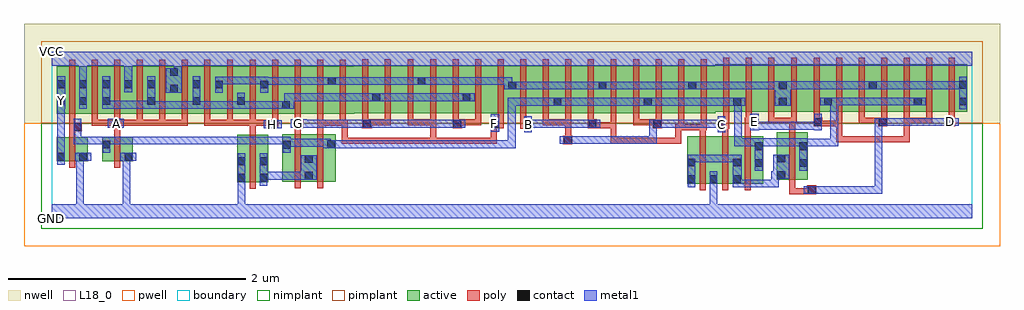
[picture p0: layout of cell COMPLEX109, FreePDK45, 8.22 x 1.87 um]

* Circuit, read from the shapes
.subckt COMPLEX109 A B C D E F G GND H VCC Y
M1 GND n1 Y VSUBS nfet w=0.2u l=0.05u
M2 GND A n1 VSUBS nfet w=0.2u l=0.05u
M3 n2 H GND VSUBS nfet w=0.4u l=0.05u
M4 n2 G n1 VSUBS nfet w=0.4u l=0.05u
M5 n1 F n2 VSUBS nfet w=0.4u l=0.05u
M6 GND B n3 VSUBS nfet w=0.4u l=0.05u
M7 n3 C GND VSUBS nfet w=0.4u l=0.05u
M8 n1 E n3 VSUBS nfet w=0.4u l=0.05u
M9 n1 D n3 VSUBS nfet w=0.4u l=0.05u
M10 VCC n1 Y n4 pfet w=0.4u l=0.05u
M11 n5 A VCC n4 pfet w=0.4u l=0.05u m=5
M12 n6 H n5 n4 pfet w=0.4u l=0.05u m=4
M13 n7 G n5 n4 pfet w=0.4u l=0.05u
M14 n6 F n7 n4 pfet w=0.4u l=0.05u
M15 n8 F n6 n4 pfet w=0.4u l=0.05u
M16 n5 G n8 n4 pfet w=0.4u l=0.05u
M17 n9 G n5 n4 pfet w=0.4u l=0.05u
M18 n6 F n9 n4 pfet w=0.4u l=0.05u
M19 n10 F n6 n4 pfet w=0.4u l=0.05u
M20 n5 G n10 n4 pfet w=0.4u l=0.05u
M21 n11 G n5 n4 pfet w=0.4u l=0.05u
M22 n6 F n11 n4 pfet w=0.4u l=0.05u
M23 n12 B n6 n4 pfet w=0.4u l=0.05u
M24 n1 C n12 n4 pfet w=0.4u l=0.05u
M25 n13 C n1 n4 pfet w=0.4u l=0.05u
M26 n6 B n13 n4 pfet w=0.4u l=0.05u
M27 n14 B n6 n4 pfet w=0.4u l=0.05u
M28 n1 C n14 n4 pfet w=0.4u l=0.05u
M29 n15 C n1 n4 pfet w=0.4u l=0.05u
M30 n6 B n15 n4 pfet w=0.4u l=0.05u
M31 n16 B n6 n4 pfet w=0.4u l=0.05u
M32 n1 C n16 n4 pfet w=0.4u l=0.05u
M33 n17 E n1 n4 pfet w=0.4u l=0.05u
M34 n6 D n17 n4 pfet w=0.4u l=0.05u
M35 n18 D n6 n4 pfet w=0.4u l=0.05u
M36 n1 E n18 n4 pfet w=0.4u l=0.05u
M37 n19 E n1 n4 pfet w=0.4u l=0.05u
M38 n6 D n19 n4 pfet w=0.4u l=0.05u
M39 n20 D n6 n4 pfet w=0.4u l=0.05u
M40 n1 E n20 n4 pfet w=0.4u l=0.05u
M41 n21 E n1 n4 pfet w=0.4u l=0.05u
M42 n6 D n21 n4 pfet w=0.4u l=0.05u
.ends

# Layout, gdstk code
import gdstk
lib = gdstk.Library(unit=1e-6, precision=1e-09)
def R(c, l, rs):  # rectangles x0, y0, x1, y1
    for r in rs: c.add(gdstk.rectangle(r[:2], r[2:], *l))
def A(c, l, x, y, w, h, nx, ny, dx, dy):  # array of equal rectangles
    R(c, l, [(x+i*dx, y+j*dy, x+i*dx+w, y+j*dy+h) for i in range(nx) for j in range(ny)])
active = (1, 0)
pwell = (2, 0)
nwell = (3, 0)
nimplant = (4, 0)
pimplant = (5, 0)
poly = (9, 0)
contact = (10, 0)
metal1 = (11, 0)
L18_0 = (18, 0)
boundary = (235, 0)

complex109 = lib.new_cell('COMPLEX109')
A(complex109, active, 0.04, 0.88, 0.075, 0.32, 4, 1, 0.38, 0)
A(complex109, active, 0.8, 0.88, 0.265, 0.4, 3, 1, 0.19, 0)
A(complex109, active, 2.545, 0.882, 0.225, 0.4, 3, 1, 0.38, 0)
A(complex109, active, 2.695, 0.882, 0.23, 0.4, 3, 1, 0.38, 0)
A(complex109, active, 3.685, 0.882, 0.23, 0.4, 4, 1, 0.38, 0)
A(complex109, active, 3.84, 0.882, 0.225, 0.4, 4, 1, 0.38, 0)
A(complex109, active, 6.725, 0.897, 0.225, 0.4, 3, 1, 0.38, 0)
R(complex109, active, [(5.35,0.29,5.61,0.69), (5.35,0.29,5.425,0.69), (5.535,0.29,5.805,0.69), (5.535,0.29,5.61,0.492), (5.73,0.29,5.99,0.69), (5.73,0.29,5.805,0.597), (1.56,0.302,1.82,0.702), (1.56,0.302,1.635,0.702), (1.745,0.302,1.82,0.597), (1.94,0.305,2.2,0.705), (2.125,0.305,2.39,0.705), (2.125,0.305,2.2,0.597), (6.105,0.325,6.365,0.725), (6.105,0.325,6.18,0.725), (1.94,0.33,2.015,0.705), (5.915,0.33,5.99,0.69), (2.315,0.345,2.39,0.705), (6.29,0.345,6.365,0.725), (0.04,0.48,0.115,0.68), (0.04,0.48,0.3,0.68), (0.225,0.48,0.3,0.68), (0.422,0.48,0.682,0.68), (0.607,0.48,0.682,0.68), (0.422,0.532,0.497,0.68), (0.04,0.88,0.3,1.28), (0.225,0.88,0.3,1.28), (0.225,0.88,0.495,1.28), (0.42,0.88,0.68,1.28), (0.605,0.88,0.68,1.28), (0.605,0.88,0.875,1.28), (0.99,0.88,1.065,1.28), (1.37,0.88,1.63,1.28), (1.37,0.88,1.445,1.2), (1.555,0.88,1.825,1.28), (1.555,0.88,1.63,1.07), (1.75,0.88,2.01,1.28), (1.75,0.88,1.825,1.2), (1.935,0.88,2.165,1.28), (1.935,0.88,2.01,1.07), (2.165,0.88,2.395,1.28), (2.32,0.88,2.545,1.28), (2.32,0.88,2.395,1.2), (2.695,0.882,2.77,1.07), (3.075,0.882,3.15,1.2), (3.455,0.882,3.53,1.07), (3.84,0.882,3.915,1.2), (4.22,0.882,4.295,1.07), (4.6,0.882,4.675,1.2), (4.98,0.882,5.055,1.07), (5.205,0.882,5.43,1.282), (5.355,0.882,5.585,1.282), (5.355,0.882,5.43,1.2), (5.585,0.897,5.81,1.297), (5.735,0.897,5.965,1.297), (5.735,0.897,5.81,1.07), (5.965,0.897,6.192,1.297), (6.117,0.897,6.192,1.2), (6.117,0.897,6.345,1.297), (6.345,0.897,6.575,1.297), (6.5,0.897,6.725,1.297), (6.5,0.897,6.575,1.07), (6.875,0.897,6.95,1.2), (6.875,0.897,7.105,1.297), (7.255,0.897,7.485,1.297), (7.255,0.897,7.33,1.07), (7.635,0.897,7.71,1.2)])
R(complex109, pwell, [(-0.235,-0.235,7.985,0.8)])
R(complex109, nwell, [(-0.235,0.8,7.985,1.635)])
R(complex109, nimplant, [(-0.09,-0.09,7.84,0.8)])
R(complex109, pimplant, [(-0.09,0.8,7.84,1.49)])
A(complex109, poly, 5.455, 0.235, 0.05, 0.51, 3, 1, 0.19, 0)
A(complex109, poly, 0.335, 0.78, 0.05, 0.095, 12, 1, 0.19, 0)
A(complex109, poly, 2.615, 0.782, 0.05, 0.095, 7, 1, 0.19, 0)
A(complex109, poly, 2.805, 0.782, 0.05, 0.05, 3, 1, 0.19, 0)
A(complex109, poly, 4.135, 0.782, 0.05, 0.095, 3, 1, 0.19, 0)
A(complex109, poly, 5.845, 0.797, 0.05, 0.095, 4, 1, 0.19, 0)
A(complex109, poly, 6.795, 0.797, 0.05, 0.095, 5, 1, 0.19, 0)
A(complex109, poly, 0.145, 0.825, 0.05, 0.51, 13, 1, 0.19, 0)
A(complex109, poly, 2.615, 0.827, 0.05, 0.51, 16, 1, 0.19, 0)
A(complex109, poly, 5.655, 0.842, 0.05, 0.51, 11, 1, 0.19, 0)
R(complex109, poly, [(6.21,0.2,6.26,0.25), (6.21,0.2,6.26,0.25), (6.21,0.2,6.26,0.25), (6.21,0.2,6.26,0.32), (6.21,0.2,6.412,0.25), (6.362,0.2,6.437,0.275), (6.362,0.2,6.412,0.25), (6.362,0.2,6.412,0.25), (1.665,0.247,1.715,0.757), (2.045,0.25,2.095,0.76), (2.235,0.25,2.285,0.76), (6.21,0.27,6.26,0.78), (0.145,0.425,0.195,0.735), (0.527,0.425,0.577,0.735), (4.307,0.62,4.382,0.695), (2.44,0.625,2.49,0.675), (2.44,0.625,2.49,0.675), (2.44,0.625,2.49,0.675), (2.44,0.625,2.49,0.675), (2.44,0.625,2.49,0.675), (2.44,0.625,2.702,0.675), (2.44,0.625,2.49,0.83), (2.652,0.625,2.702,0.675), (2.652,0.625,2.835,0.675), (2.785,0.625,2.835,0.675), (2.785,0.625,2.835,0.675), (2.785,0.625,2.835,0.675), (2.785,0.625,3.102,0.675), (3.052,0.625,3.102,0.675), (3.052,0.625,3.102,0.675), (3.052,0.625,3.102,0.675), (3.052,0.625,3.235,0.675), (3.185,0.625,3.235,0.675), (3.185,0.625,3.235,0.675), (3.185,0.625,3.235,0.675), (3.185,0.625,3.235,0.832), (3.185,0.625,3.367,0.675), (3.317,0.625,3.367,0.675), (3.317,0.625,3.367,0.675), (3.317,0.625,3.367,0.675), (3.317,0.625,3.585,0.675), (3.535,0.625,3.585,0.675), (3.535,0.625,3.585,0.675), (3.535,0.625,3.585,0.675), (3.535,0.625,3.747,0.675), (3.697,0.625,3.747,0.675), (3.697,0.625,3.747,0.675), (3.697,0.625,3.747,0.675), (3.697,0.625,3.747,0.807), (4.705,0.625,4.755,0.675), (4.705,0.625,4.755,0.675), (4.705,0.625,4.755,0.675), (4.705,0.625,4.755,0.675), (4.705,0.625,4.755,0.675), (4.705,0.625,4.755,0.807), (4.705,0.625,4.887,0.675), (4.837,0.625,4.887,0.675), (4.837,0.625,4.887,0.675), (4.837,0.625,4.887,0.675), (4.837,0.625,5.077,0.675), (5.027,0.625,5.077,0.675), (5.027,0.625,5.077,0.675), (5.027,0.625,5.077,0.675), (5.027,0.625,5.3,0.675), (5.25,0.625,5.3,0.675), (5.25,0.625,5.3,0.79), (6.605,0.64,6.655,0.69), (6.605,0.64,6.655,0.69), (6.605,0.64,6.655,0.69), (6.605,0.64,6.877,0.69), (6.605,0.64,6.655,0.822), (6.827,0.64,6.877,0.69), (6.827,0.64,6.877,0.69), (6.827,0.64,6.877,0.69), (6.827,0.64,7.092,0.69), (7.042,0.64,7.092,0.69), (7.042,0.64,7.225,0.69), (7.175,0.64,7.225,0.69), (7.175,0.64,7.225,0.69), (7.175,0.64,7.225,0.69), (7.175,0.64,7.225,0.847), (4.325,0.645,4.375,0.695), (4.325,0.645,4.375,0.695), (4.325,0.645,4.375,0.832), (0.145,0.685,0.195,0.78), (0.527,0.685,0.577,0.805), (5.455,0.695,5.505,0.79), (5.645,0.695,5.695,0.802), (5.835,0.695,5.885,0.822), (1.665,0.707,1.715,0.83), (2.045,0.71,2.095,0.805), (2.235,0.71,2.285,0.83), (0.145,0.73,0.252,0.805), (6.21,0.73,6.26,0.847), (5.25,0.74,5.3,0.79), (5.25,0.74,5.3,0.79), (5.25,0.74,5.325,0.79), (5.275,0.74,5.325,0.79), (5.275,0.74,5.325,0.79), (5.275,0.74,5.325,0.877), (5.275,0.74,5.505,0.79), (5.455,0.74,5.515,0.79), (5.465,0.74,5.515,0.877), (3.945,0.752,4.047,0.827), (5.602,0.752,5.705,0.827), (0.145,0.755,0.195,0.875), (0.502,0.755,0.577,0.83), (1.83,0.755,1.905,0.83), (2.042,0.755,2.117,0.83), (2.615,0.757,2.692,0.832), (3.375,0.757,3.452,0.832), (3.697,0.757,3.747,0.807), (3.697,0.757,3.747,0.807), (3.697,0.757,3.805,0.832), (4.515,0.757,4.59,0.832), (4.54,0.757,4.59,0.807), (4.54,0.757,4.59,0.807), (4.54,0.757,4.755,0.807), (4.705,0.757,4.755,0.807), (4.705,0.757,4.755,0.877), (5.06,0.757,5.135,0.832), (5.835,0.772,5.952,0.847), (6.415,0.772,6.49,0.847), (6.44,0.772,6.49,0.822), (6.44,0.772,6.49,0.822), (6.44,0.772,6.655,0.822), (6.605,0.772,6.655,0.822), (6.605,0.772,6.655,0.822), (6.605,0.772,6.655,0.822), (6.605,0.772,6.655,0.892), (6.96,0.772,7.035,0.847), (7.532,0.772,7.607,0.847), (3.945,0.777,3.995,0.877), (5.655,0.777,5.705,0.892), (0.335,0.78,0.385,0.83), (0.335,0.78,0.552,0.83), (0.502,0.78,0.552,0.83), (0.502,0.78,0.552,0.83), (0.527,0.78,0.765,0.83), (0.715,0.78,0.765,0.83), (0.715,0.78,0.765,0.83), (0.715,0.78,0.765,0.83), (0.715,0.78,0.955,0.83), (0.905,0.78,0.955,0.83), (0.905,0.78,0.955,0.83), (0.905,0.78,0.955,0.83), (0.905,0.78,1.145,0.83), (1.095,0.78,1.145,0.83), (1.095,0.78,1.145,0.83), (1.095,0.78,1.145,0.83), (1.285,0.78,1.335,0.83), (1.285,0.78,1.335,0.83), (1.285,0.78,1.335,0.83), (1.285,0.78,1.525,0.83), (1.475,0.78,1.525,0.83), (1.475,0.78,1.525,0.83), (1.475,0.78,1.525,0.83), (1.475,0.78,1.715,0.83), (1.665,0.78,1.715,0.83), (1.665,0.78,1.715,0.83), (1.665,0.78,1.715,0.83), (1.665,0.78,1.88,0.83), (2.235,0.78,2.285,0.83), (2.235,0.78,2.285,0.83), (2.235,0.78,2.285,0.83), (2.235,0.78,2.475,0.83), (2.425,0.78,2.49,0.83), (2.642,0.782,2.855,0.832), (2.805,0.782,2.855,0.832), (2.805,0.782,2.855,0.832), (2.995,0.782,3.235,0.832), (3.185,0.782,3.235,0.832), (3.185,0.782,3.235,0.832), (3.185,0.782,3.235,0.832), (3.185,0.782,3.235,0.832), (3.402,0.782,3.615,0.832), (3.565,0.782,3.615,0.832), (3.565,0.782,3.615,0.832), (3.565,0.782,3.615,0.832), (4.135,0.782,4.185,0.832), (4.135,0.782,4.375,0.832), (4.325,0.782,4.375,0.832), (4.325,0.782,4.375,0.832), (4.325,0.782,4.375,0.832), (4.895,0.782,4.945,0.877), (4.895,0.782,4.945,0.832), (4.895,0.782,4.945,0.832), (4.895,0.782,4.945,0.832), (4.895,0.782,5.11,0.832), (5.085,0.782,5.135,0.877), (6.035,0.797,6.085,0.847), (6.035,0.797,6.085,0.847), (6.035,0.797,6.085,0.847), (6.035,0.797,6.26,0.847), (6.21,0.797,6.275,0.847), (6.795,0.797,6.845,0.847), (6.795,0.797,6.845,0.847), (6.795,0.797,6.845,0.847), (6.795,0.797,7.01,0.847), (7.175,0.797,7.225,0.847), (7.175,0.797,7.225,0.847), (7.175,0.797,7.225,0.847), (7.175,0.797,7.415,0.847), (7.365,0.797,7.415,0.847), (7.365,0.797,7.415,0.847), (7.365,0.797,7.415,0.847)])
A(complex109, contact, 0.425, 0.955, 0.065, 0.065, 3, 1, 0.38, 0)
R(complex109, contact, [(6.367,0.205,6.432,0.27), (5.355,0.295,5.42,0.36), (5.54,0.295,5.605,0.36), (5.735,0.295,5.8,0.36), (1.565,0.307,1.63,0.372), (1.75,0.307,1.815,0.372), (2.13,0.325,2.195,0.39), (6.11,0.33,6.175,0.395), (5.92,0.432,5.985,0.497), (6.295,0.432,6.36,0.497), (5.355,0.435,5.42,0.5), (5.735,0.435,5.8,0.5), (1.565,0.447,1.63,0.512), (1.75,0.447,1.815,0.512), (2.13,0.465,2.195,0.53), (6.11,0.47,6.175,0.535), (0.045,0.485,0.11,0.55), (0.23,0.485,0.295,0.55), (0.612,0.485,0.677,0.55), (5.92,0.572,5.985,0.637), (6.295,0.572,6.36,0.637), (1.945,0.585,2.01,0.65), (0.427,0.587,0.492,0.652), (2.32,0.59,2.385,0.655), (4.312,0.625,4.377,0.69), (0.182,0.735,0.247,0.8), (3.977,0.757,4.042,0.822), (5.607,0.757,5.672,0.822), (0.507,0.76,0.572,0.825), (1.835,0.76,1.9,0.825), (2.047,0.76,2.112,0.825), (2.622,0.762,2.687,0.827), (3.382,0.762,3.447,0.827), (3.702,0.762,3.767,0.827), (4.52,0.762,4.585,0.827), (5.065,0.762,5.13,0.827), (5.882,0.777,5.947,0.842), (6.42,0.777,6.485,0.842), (6.965,0.777,7.03,0.842), (7.537,0.777,7.602,0.842), (1.94,0.92,2.005,0.985), (4.225,0.947,4.29,1.012), (4.985,0.947,5.05,1.012), (5.74,0.947,5.805,1.012), (6.122,0.947,6.187,1.012), (6.505,0.95,6.57,1.015), (7.26,0.95,7.325,1.015), (7.64,0.95,7.705,1.015), (0.045,0.955,0.11,1.02), (0.23,0.955,0.295,1.02), (1.56,0.955,1.625,1.02), (2.7,0.985,2.765,1.05), (3.46,0.985,3.525,1.05), (0.995,1.057,1.06,1.122), (3.845,1.085,3.91,1.15), (4.605,1.085,4.67,1.15), (5.36,1.085,5.425,1.15), (6.122,1.087,6.187,1.152), (6.88,1.087,6.945,1.152), (7.64,1.09,7.705,1.155), (1.375,1.092,1.44,1.157), (1.755,1.092,1.82,1.157), (0.045,1.095,0.11,1.16), (0.23,1.095,0.295,1.16), (0.425,1.095,0.49,1.16), (0.61,1.095,0.675,1.16), (0.805,1.095,0.87,1.16), (1.185,1.095,1.25,1.16), (2.325,1.122,2.39,1.187), (3.08,1.122,3.145,1.187), (0.995,1.197,1.06,1.262)])
A(complex109, metal1, 0.425, 0.92, 0.065, 0.275, 3, 1, 0.38, 0)
A(complex109, metal1, 2.872, 1.122, 0.203, 0.065, 3, 1, 0.275, 0)
R(complex109, metal1, [(0,0,7.75,0.115), (0.205,0.05,0.27,0.55), (0.595,0.05,0.66,0.115), (0.595,0.05,0.66,0.115), (0.595,0.05,0.66,0.55), (1.565,0.05,1.63,0.115), (1.565,0.05,1.63,0.115), (1.565,0.05,1.63,0.115), (1.565,0.05,1.63,0.115), (1.565,0.05,1.63,0.337), (5.54,0.05,5.605,0.115), (5.54,0.05,5.605,0.115), (5.54,0.05,5.605,0.115), (5.54,0.05,5.605,0.115), (5.54,0.05,5.605,0.325), (6.332,0.205,6.467,0.27), (6.402,0.205,6.635,0.27), (6.57,0.205,6.635,0.27), (6.57,0.205,6.635,0.27), (6.57,0.205,6.635,0.27), (6.57,0.205,6.772,0.27), (6.707,0.205,6.772,0.27), (6.707,0.205,6.772,0.27), (6.707,0.205,6.772,0.27), (6.707,0.205,6.995,0.27), (6.93,0.205,6.995,0.27), (6.93,0.205,6.995,0.27), (6.93,0.205,6.995,0.27), (6.93,0.205,6.995,0.27), (6.93,0.205,6.995,0.27), (6.93,0.205,6.995,0.842), (5.355,0.26,5.42,0.535), (5.54,0.26,5.605,0.395), (5.735,0.26,5.81,0.535), (5.745,0.26,5.81,0.325), (5.745,0.26,5.81,0.325), (5.745,0.26,5.947,0.325), (5.882,0.26,5.947,0.325), (5.882,0.26,6.122,0.325), (6.057,0.26,6.122,0.395), (1.565,0.272,1.63,0.547), (1.75,0.272,1.815,0.547), (1.75,0.325,1.815,0.39), (1.75,0.325,1.815,0.39), (1.75,0.325,2.022,0.39), (1.957,0.325,2.022,0.39), (1.957,0.325,2.022,0.39), (1.957,0.325,2.022,0.39), (1.957,0.325,2.16,0.39), (2.095,0.325,2.23,0.53), (6.057,0.33,6.14,0.395), (6.075,0.33,6.21,0.535), (5.92,0.397,5.985,0.672), (6.295,0.397,6.36,0.672), (0.045,0.45,0.11,0.585), (5.355,0.47,5.46,0.535), (5.395,0.47,5.46,0.535), (5.395,0.47,5.632,0.535), (5.567,0.47,5.632,0.535), (5.567,0.47,5.632,0.535), (5.567,0.47,5.632,0.535), (5.567,0.47,5.8,0.535), (0.195,0.485,0.33,0.55), (0.205,0.485,0.27,0.55), (0.205,0.485,0.27,0.55), (0.205,0.485,0.27,0.55), (0.205,0.485,0.27,0.55), (0.205,0.485,0.27,0.55), (0.205,0.485,0.27,0.55), (0.205,0.485,0.27,0.55), (0.205,0.485,0.27,0.55), (0.577,0.485,0.712,0.55), (0.595,0.485,0.66,0.55), (0.595,0.485,0.66,0.55), (0.595,0.485,0.66,0.55), (0.595,0.485,0.66,0.55), (0.595,0.485,0.66,0.55), (0.595,0.485,0.66,0.55), (0.045,0.52,0.11,0.585), (0.045,0.52,0.11,0.585), (0.045,0.52,0.11,0.985), (1.945,0.55,2.01,0.685), (0.427,0.552,0.492,0.687), (2.285,0.59,2.35,0.655), (2.285,0.59,2.42,0.655), (2.285,0.59,2.35,0.667), (2.355,0.59,2.515,0.655), (2.45,0.59,2.515,0.655), (2.45,0.59,2.585,0.655), (2.52,0.59,2.585,0.655), (2.52,0.59,2.8,0.655), (2.735,0.59,2.8,0.655), (2.735,0.59,2.8,0.655), (2.735,0.59,2.8,0.655), (2.735,0.59,2.937,0.655), (2.872,0.59,2.937,0.655), (2.872,0.59,2.937,0.655), (2.872,0.59,2.937,0.655), (2.872,0.59,3.075,0.655), (3.01,0.59,3.075,0.655), (3.01,0.59,3.075,0.655), (3.01,0.59,3.075,0.655), (3.01,0.59,3.275,0.655), (3.21,0.59,3.275,0.655), (3.21,0.59,3.35,0.655), (3.285,0.59,3.35,0.655), (3.285,0.59,3.487,0.655), (3.422,0.59,3.487,0.655), (3.422,0.59,3.487,0.655), (3.422,0.59,3.487,0.655), (3.422,0.59,3.625,0.655), (3.56,0.59,3.625,0.655), (3.56,0.59,3.625,0.655), (3.56,0.59,3.625,0.655), (3.56,0.59,3.905,0.655), (3.84,0.59,3.905,0.655), (3.84,0.59,3.905,0.655), (3.84,0.59,3.905,0.655), (3.84,0.59,3.905,0.655), (3.84,0.59,3.905,0.655), (3.84,0.59,3.905,1.012), (1.945,0.602,2.01,0.667), (1.945,0.602,2.01,0.667), (1.945,0.602,2.16,0.667), (2.095,0.602,2.16,0.667), (2.095,0.602,2.35,0.667), (6.295,0.605,6.397,0.67), (6.332,0.605,6.397,0.67), (6.332,0.605,6.622,0.67), (6.557,0.605,6.622,0.67), (6.557,0.605,6.622,0.67), (6.557,0.605,6.622,0.67), (6.557,0.605,6.622,1.015), (5.745,0.607,5.81,0.672), (5.745,0.607,5.81,0.672), (5.745,0.607,5.81,0.672), (5.745,0.607,5.81,0.672), (5.745,0.607,5.81,0.672), (5.745,0.607,5.985,0.672), (5.745,0.607,5.81,1.012), (5.92,0.607,6.122,0.672), (6.057,0.607,6.122,0.672), (6.057,0.607,6.222,0.672), (6.157,0.607,6.222,0.672), (6.157,0.607,6.26,0.672), (6.195,0.607,6.26,0.672), (6.195,0.607,6.36,0.672), (1.612,0.62,1.815,0.685), (1.612,0.62,1.677,0.687), (1.75,0.62,1.815,0.685), (1.75,0.62,1.815,0.685), (1.75,0.62,1.815,0.685), (1.75,0.62,2.01,0.685), (0.182,0.622,0.247,0.687), (0.182,0.622,0.385,0.687), (0.182,0.622,0.247,0.765), (0.32,0.622,0.385,0.687), (0.32,0.622,0.492,0.687), (0.427,0.622,0.56,0.687), (0.495,0.622,0.56,0.687), (0.495,0.622,0.732,0.687), (0.667,0.622,0.732,0.687), (0.667,0.622,0.732,0.687), (0.667,0.622,0.732,0.687), (0.667,0.622,0.887,0.687), (0.822,0.622,0.887,0.687), (0.822,0.622,0.887,0.687), (0.822,0.622,0.887,0.687), (0.822,0.622,1.052,0.687), (0.987,0.622,1.052,0.687), (0.987,0.622,1.052,0.687), (0.987,0.622,1.052,0.687), (0.987,0.622,1.25,0.687), (1.185,0.622,1.25,0.687), (1.185,0.622,1.25,0.687), (1.185,0.622,1.25,0.687), (1.185,0.622,1.387,0.687), (1.322,0.622,1.387,0.687), (1.322,0.622,1.387,0.687), (1.322,0.622,1.387,0.687), (1.322,0.622,1.677,0.687), (1.612,0.622,1.677,0.687), (1.612,0.622,1.677,0.687), (4.277,0.625,4.412,0.69), (4.347,0.625,4.497,0.69), (4.432,0.625,4.497,0.69), (4.432,0.625,4.497,0.69), (4.432,0.625,4.497,0.69), (4.432,0.625,4.55,0.69), (4.485,0.625,4.55,0.69), (4.485,0.625,4.74,0.69), (4.675,0.625,4.74,0.69), (4.675,0.625,4.74,0.69), (4.675,0.625,4.74,0.69), (4.675,0.625,4.877,0.69), (4.812,0.625,4.877,0.69), (4.812,0.625,4.877,0.69), (4.812,0.625,4.877,0.69), (4.812,0.625,5.095,0.69), (5.03,0.625,5.095,0.69), (5.03,0.625,5.095,0.827), (0.182,0.7,0.247,0.765), (0.182,0.7,0.247,0.765), (0.182,0.7,0.247,0.835), (3.977,0.722,4.042,0.857), (5.607,0.722,5.672,0.857), (3.697,0.727,3.767,0.875), (5.882,0.742,5.952,0.877), (6.42,0.742,6.485,0.877), (5.887,0.745,5.952,0.81), (5.887,0.745,5.952,0.81), (5.887,0.745,6.122,0.81), (6.057,0.745,6.122,0.81), (6.057,0.745,6.222,0.81), (6.157,0.745,6.222,0.81), (6.157,0.745,6.26,0.81), (6.195,0.745,6.26,0.81), (6.195,0.745,6.36,0.81), (6.295,0.745,6.36,0.81), (6.295,0.745,6.485,0.81), (1.785,0.757,1.935,0.825), (0.472,0.76,0.607,0.837), (2.012,0.76,2.147,0.832), (2.082,0.762,2.16,0.827), (2.095,0.762,2.16,0.827), (2.095,0.762,2.35,0.827), (2.285,0.762,2.35,0.827), (2.285,0.762,2.35,0.827), (2.285,0.762,2.35,0.827), (2.285,0.762,2.515,0.827), (2.45,0.762,2.515,0.827), (2.45,0.762,2.585,0.827), (2.52,0.762,2.585,0.827), (2.52,0.762,2.652,0.827), (2.587,0.762,2.722,0.827), (2.657,0.762,2.722,0.827), (2.657,0.762,2.722,0.827), (2.657,0.762,2.937,0.827), (2.872,0.762,2.937,0.827), (2.872,0.762,2.937,0.827), (2.872,0.762,2.937,0.827), (2.872,0.762,3.075,0.827), (3.01,0.762,3.075,0.827), (3.01,0.762,3.212,0.827), (3.147,0.762,3.212,0.827), (3.147,0.762,3.212,0.827), (3.147,0.762,3.212,0.827), (3.147,0.762,3.35,0.827), (3.285,0.762,3.35,0.827), (3.285,0.762,3.412,0.827), (3.347,0.762,3.482,0.827), (3.977,0.762,4.082,0.827), (4.017,0.762,4.082,0.827), (4.017,0.762,4.187,0.827), (4.122,0.762,4.187,0.827), (4.122,0.762,4.325,0.827), (4.26,0.762,4.325,0.827), (4.26,0.762,4.325,0.827), (4.26,0.762,4.325,0.827), (4.26,0.762,4.497,0.827), (4.432,0.762,4.497,0.827), (4.432,0.762,4.55,0.827), (4.485,0.762,4.62,0.827), (5.03,0.762,5.095,0.827), (5.03,0.762,5.095,0.827), (5.03,0.762,5.165,0.827), (5.1,0.762,5.232,0.827), (5.167,0.762,5.232,0.827), (5.167,0.762,5.322,0.827), (5.257,0.762,5.322,0.827), (5.257,0.762,5.46,0.827), (5.395,0.762,5.46,0.827), (5.395,0.762,5.46,0.827), (5.395,0.762,5.46,0.827), (5.395,0.762,5.632,0.827), (5.567,0.762,5.632,0.827), (5.567,0.762,5.672,0.827), (6.93,0.777,6.995,0.842), (6.93,0.777,6.995,0.842), (6.93,0.777,6.995,0.842), (6.93,0.777,6.995,0.842), (6.93,0.777,7.065,0.842), (7,0.777,7.132,0.842), (7.067,0.777,7.132,0.842), (7.067,0.777,7.27,0.842), (7.205,0.777,7.27,0.842), (7.205,0.777,7.27,0.842), (7.205,0.777,7.27,0.842), (7.205,0.777,7.43,0.842), (7.365,0.777,7.43,0.842), (7.365,0.777,7.567,0.842), (7.502,0.777,7.567,0.842), (7.502,0.777,7.567,0.842), (7.502,0.777,7.637,0.842), (7.64,0.915,7.705,1.19), (0.045,0.92,0.112,1.195), (0.23,0.92,0.295,1.195), (0.805,0.92,0.87,0.985), (0.805,0.92,0.87,0.985), (0.805,0.92,1.112,0.985), (1.047,0.92,1.112,0.985), (1.047,0.92,1.112,0.985), (1.047,0.92,1.112,0.985), (1.047,0.92,1.25,0.985), (1.185,0.92,1.25,0.985), (1.185,0.92,1.25,0.985), (1.185,0.92,1.487,0.985), (1.422,0.92,1.487,0.985), (1.422,0.92,1.487,0.985), (1.422,0.92,1.487,0.985), (1.422,0.92,1.625,0.985), (1.56,0.92,1.625,0.985), (1.56,0.92,1.625,0.985), (1.56,0.92,1.625,1.055), (1.56,0.92,1.832,0.985), (1.767,0.92,1.832,0.985), (1.767,0.92,1.832,0.985), (1.767,0.92,1.832,0.985), (1.767,0.92,1.97,0.985), (1.905,0.92,2.04,0.985), (1.957,0.92,2.022,1.05), (0.425,0.922,0.522,0.987), (0.457,0.922,0.522,0.987), (0.457,0.922,0.732,0.987), (0.667,0.922,0.732,0.987), (0.667,0.922,0.732,0.987), (0.667,0.922,0.732,0.987), (0.667,0.922,0.87,0.987), (3.84,0.947,3.905,1.012), (3.84,0.947,4.042,1.012), (3.977,0.947,4.042,1.012), (3.977,0.947,4.087,1.012), (4.022,0.947,4.087,1.012), (4.022,0.947,4.187,1.012), (4.122,0.947,4.187,1.012), (4.122,0.947,4.255,1.012), (4.19,0.947,4.325,1.012), (4.26,0.947,4.325,1.012), (4.26,0.947,4.325,1.012), (4.26,0.947,4.467,1.012), (4.402,0.947,4.467,1.012), (4.402,0.947,4.55,1.012), (4.485,0.947,4.55,1.012), (4.485,0.947,4.705,1.012), (4.64,0.947,4.705,1.012), (4.64,0.947,4.705,1.012), (4.64,0.947,4.705,1.012), (4.64,0.947,4.877,1.012), (4.812,0.947,4.877,1.012), (4.812,0.947,4.877,1.012), (4.812,0.947,4.877,1.012), (4.812,0.947,5.015,1.012), (4.95,0.947,5.085,1.012), (5.02,0.947,5.085,1.012), (5.02,0.947,5.085,1.012), (5.02,0.947,5.232,1.012), (5.167,0.947,5.232,1.012), (5.167,0.947,5.322,1.012), (5.257,0.947,5.322,1.012), (5.257,0.947,5.467,1.012), (5.402,0.947,5.467,1.012), (5.402,0.947,5.467,1.012), (5.402,0.947,5.467,1.012), (5.402,0.947,5.605,1.012), (5.54,0.947,5.605,1.012), (5.54,0.947,5.605,1.012), (5.54,0.947,5.605,1.012), (5.54,0.947,5.77,1.012), (5.705,0.947,5.84,1.012), (6.087,0.947,6.222,1.152), (6.47,0.95,6.622,1.015), (6.557,0.95,6.622,1.015), (6.557,0.95,6.622,1.015), (6.557,0.95,6.772,1.015), (6.707,0.95,6.772,1.015), (6.707,0.95,6.772,1.015), (6.707,0.95,6.772,1.015), (6.707,0.95,6.995,1.015), (6.93,0.95,6.995,1.015), (6.93,0.95,6.995,1.015), (6.93,0.95,6.995,1.015), (6.93,0.95,7.132,1.015), (7.067,0.95,7.132,1.015), (7.067,0.95,7.29,1.015), (7.225,0.95,7.29,1.015), (7.225,0.95,7.29,1.015), (7.225,0.95,7.36,1.015), (1.957,0.985,2.022,1.05), (1.957,0.985,2.022,1.05), (1.957,0.985,2.022,1.05), (1.957,0.985,2.212,1.05), (2.147,0.985,2.212,1.05), (2.147,0.985,2.377,1.05), (2.312,0.985,2.377,1.05), (2.312,0.985,2.377,1.05), (2.312,0.985,2.377,1.05), (2.312,0.985,2.515,1.05), (2.45,0.985,2.515,1.05), (2.45,0.985,2.585,1.05), (2.52,0.985,2.585,1.05), (2.52,0.985,2.73,1.05), (2.665,0.985,2.73,1.05), (2.665,0.985,2.73,1.05), (2.665,0.985,2.8,1.05), (2.735,0.985,2.937,1.05), (2.872,0.985,2.937,1.05), (2.872,0.985,2.937,1.05), (2.872,0.985,2.937,1.05), (2.872,0.985,3.075,1.05), (3.01,0.985,3.075,1.05), (3.01,0.985,3.075,1.05), (3.01,0.985,3.075,1.05), (3.01,0.985,3.275,1.05), (3.21,0.985,3.275,1.05), (3.21,0.985,3.35,1.05), (3.285,0.985,3.35,1.05), (3.285,0.985,3.487,1.05), (3.422,0.985,3.487,1.05), (3.422,0.985,3.487,1.05), (3.422,0.985,3.56,1.05), (0.96,1.057,1.095,1.262), (1.375,1.057,1.44,1.192), (1.755,1.057,1.82,1.192), (0.61,1.06,0.675,1.195), (3.81,1.085,3.875,1.15), (3.81,1.085,3.945,1.15), (3.81,1.085,3.875,1.187), (3.88,1.085,4.05,1.15), (3.985,1.085,4.05,1.15), (3.985,1.085,4.082,1.15), (4.017,1.085,4.082,1.15), (4.017,1.085,4.187,1.15), (4.122,1.085,4.187,1.15), (4.122,1.085,4.325,1.15), (4.26,1.085,4.325,1.15), (4.26,1.085,4.325,1.15), (4.26,1.085,4.325,1.15), (4.26,1.085,4.462,1.15), (4.397,1.085,4.462,1.15), (4.397,1.085,4.567,1.15), (4.502,1.085,4.567,1.15), (4.502,1.085,4.635,1.15), (4.57,1.085,4.705,1.15), (4.64,1.085,4.705,1.15), (4.64,1.085,4.705,1.15), (4.64,1.085,4.877,1.15), (4.812,1.085,4.877,1.15), (4.812,1.085,4.877,1.15), (4.812,1.085,4.877,1.15), (4.812,1.085,5.015,1.15), (4.95,1.085,5.015,1.15), (4.95,1.085,5.015,1.15), (4.95,1.085,5.015,1.15), (4.95,1.085,5.232,1.15), (5.167,1.085,5.232,1.15), (5.167,1.085,5.322,1.15), (5.257,1.085,5.322,1.15), (5.257,1.085,5.39,1.15), (5.325,1.085,5.46,1.15), (5.395,1.085,5.46,1.15), (5.395,1.085,5.46,1.15), (5.395,1.085,5.632,1.15), (5.567,1.085,5.632,1.15), (5.567,1.085,5.632,1.15), (5.567,1.085,5.632,1.15), (5.567,1.085,5.81,1.15), (5.745,1.085,5.81,1.15), (5.745,1.085,5.81,1.15), (5.745,1.085,5.81,1.15), (5.745,1.085,5.947,1.15), (5.882,1.085,5.947,1.15), (5.882,1.085,6.122,1.15), (6.057,1.085,6.122,1.15), (6.057,1.085,6.152,1.15), (6.157,1.087,6.26,1.152), (6.195,1.087,6.26,1.152), (6.195,1.087,6.397,1.152), (6.332,1.087,6.397,1.152), (6.332,1.087,6.397,1.152), (6.332,1.087,6.397,1.152), (6.332,1.087,6.622,1.152), (6.557,1.087,6.622,1.152), (6.557,1.087,6.622,1.152), (6.557,1.087,6.622,1.152), (6.557,1.087,6.772,1.152), (6.707,1.087,6.772,1.152), (6.707,1.087,6.772,1.152), (6.707,1.087,6.772,1.152), (6.707,1.087,6.91,1.152), (6.845,1.087,6.98,1.152), (6.915,1.087,7.132,1.152), (7.067,1.087,7.132,1.152), (7.067,1.087,7.132,1.152), (7.067,1.087,7.132,1.152), (7.067,1.087,7.27,1.152), (7.205,1.087,7.27,1.152), (7.205,1.087,7.27,1.152), (7.205,1.087,7.27,1.152), (7.205,1.087,7.43,1.152), (7.365,1.087,7.43,1.152), (7.365,1.087,7.43,1.152), (7.365,1.087,7.43,1.152), (7.365,1.087,7.705,1.152), (7.64,1.087,7.705,1.152), (7.64,1.087,7.705,1.152), (1.755,1.122,1.82,1.187), (1.755,1.122,1.82,1.187), (1.755,1.122,2.022,1.187), (1.957,1.122,2.022,1.187), (1.957,1.122,2.022,1.187), (1.957,1.122,2.022,1.187), (1.957,1.122,2.16,1.187), (2.095,1.122,2.16,1.187), (2.095,1.122,2.355,1.187), (2.29,1.122,2.355,1.187), (2.29,1.122,2.355,1.187), (2.29,1.122,2.425,1.187), (2.36,1.122,2.515,1.187), (2.45,1.122,2.515,1.187), (2.45,1.122,2.585,1.187), (2.52,1.122,2.585,1.187), (2.52,1.122,2.8,1.187), (2.735,1.122,2.8,1.187), (2.735,1.122,2.8,1.187), (2.735,1.122,2.8,1.187), (2.735,1.122,2.937,1.187), (2.872,1.122,2.937,1.187), (2.872,1.122,2.937,1.187), (2.872,1.122,2.937,1.187), (3.01,1.122,3.075,1.187), (3.01,1.122,3.11,1.187), (3.045,1.122,3.18,1.187), (3.115,1.122,3.212,1.187), (3.147,1.122,3.212,1.187), (3.285,1.122,3.35,1.187), (3.285,1.122,3.487,1.187), (3.422,1.122,3.487,1.187), (3.422,1.122,3.487,1.187), (3.422,1.122,3.487,1.187), (3.56,1.122,3.625,1.187), (3.56,1.122,3.625,1.187), (3.56,1.122,3.625,1.187), (3.56,1.122,3.875,1.187), (1.375,1.127,1.44,1.192), (1.375,1.127,1.44,1.192), (1.375,1.127,1.677,1.192), (1.612,1.127,1.677,1.192), (1.612,1.127,1.677,1.192), (1.612,1.127,1.677,1.192), (1.612,1.127,1.82,1.192), (0.23,1.13,0.295,1.35), (0.61,1.13,0.675,1.35), (1.03,1.197,1.095,1.35), (0,1.285,7.75,1.4)])
R(complex109, L18_0, [(0,0,7.75,0.115), (0.205,0.05,0.27,0.55), (0.595,0.05,0.66,0.115), (0.595,0.05,0.66,0.115), (0.595,0.05,0.66,0.55), (1.565,0.05,1.63,0.115), (1.565,0.05,1.63,0.115), (1.565,0.05,1.63,0.115), (1.565,0.05,1.63,0.115), (1.565,0.05,1.63,0.337), (5.54,0.05,5.605,0.115), (5.54,0.05,5.605,0.115), (5.54,0.05,5.605,0.115), (5.54,0.05,5.605,0.115), (5.54,0.05,5.605,0.325), (6.332,0.205,6.467,0.27), (6.402,0.205,6.635,0.27), (6.57,0.205,6.635,0.27), (6.57,0.205,6.635,0.27), (6.57,0.205,6.635,0.27), (6.57,0.205,6.772,0.27), (6.707,0.205,6.772,0.27), (6.707,0.205,6.772,0.27), (6.707,0.205,6.772,0.27), (6.707,0.205,6.995,0.27), (6.93,0.205,6.995,0.27), (6.93,0.205,6.995,0.27), (6.93,0.205,6.995,0.27), (6.93,0.205,6.995,0.27), (6.93,0.205,6.995,0.27), (6.93,0.205,6.995,0.842), (5.54,0.26,5.605,0.395), (1.565,0.272,1.63,0.547), (0.045,0.45,0.11,0.585), (0.195,0.485,0.33,0.55), (0.205,0.485,0.27,0.55), (0.205,0.485,0.27,0.55), (0.205,0.485,0.27,0.55), (0.205,0.485,0.27,0.55), (0.205,0.485,0.27,0.55), (0.205,0.485,0.27,0.55), (0.205,0.485,0.27,0.55), (0.205,0.485,0.27,0.55), (0.577,0.485,0.712,0.55), (0.595,0.485,0.66,0.55), (0.595,0.485,0.66,0.55), (0.595,0.485,0.66,0.55), (0.595,0.485,0.66,0.55), (0.595,0.485,0.66,0.55), (0.595,0.485,0.66,0.55), (0.045,0.52,0.11,0.585), (0.045,0.52,0.11,0.585), (0.045,0.52,0.11,0.985), (4.277,0.625,4.412,0.69), (4.347,0.625,4.497,0.69), (4.432,0.625,4.497,0.69), (4.432,0.625,4.497,0.69), (4.432,0.625,4.497,0.69), (4.432,0.625,4.55,0.69), (4.485,0.625,4.55,0.69), (4.485,0.625,4.74,0.69), (4.675,0.625,4.74,0.69), (4.675,0.625,4.74,0.69), (4.675,0.625,4.74,0.69), (4.675,0.625,4.877,0.69), (4.812,0.625,4.877,0.69), (4.812,0.625,4.877,0.69), (4.812,0.625,4.877,0.69), (4.812,0.625,5.095,0.69), (5.03,0.625,5.095,0.69), (5.03,0.625,5.095,0.827), (3.977,0.722,4.042,0.857), (5.607,0.722,5.672,0.857), (3.697,0.727,3.767,0.875), (5.882,0.742,5.952,0.877), (6.42,0.742,6.485,0.877), (5.887,0.745,5.952,0.81), (5.887,0.745,5.952,0.81), (5.887,0.745,6.122,0.81), (6.057,0.745,6.122,0.81), (6.057,0.745,6.222,0.81), (6.157,0.745,6.222,0.81), (6.157,0.745,6.26,0.81), (6.195,0.745,6.26,0.81), (6.195,0.745,6.36,0.81), (6.295,0.745,6.36,0.81), (6.295,0.745,6.485,0.81), (1.785,0.757,1.935,0.825), (1.827,0.757,1.892,0.822), (3.977,0.757,4.042,0.822), (5.607,0.757,5.672,0.822), (0.472,0.76,0.607,0.837), (2.012,0.76,2.147,0.832), (2.082,0.762,2.16,0.827), (2.095,0.762,2.16,0.827), (2.095,0.762,2.35,0.827), (2.285,0.762,2.35,0.827), (2.285,0.762,2.35,0.827), (2.285,0.762,2.35,0.827), (2.285,0.762,2.515,0.827), (2.45,0.762,2.515,0.827), (2.45,0.762,2.585,0.827), (2.52,0.762,2.585,0.827), (2.52,0.762,2.652,0.827), (2.587,0.762,2.722,0.827), (2.657,0.762,2.722,0.827), (2.657,0.762,2.722,0.827), (2.657,0.762,2.937,0.827), (2.872,0.762,2.937,0.827), (2.872,0.762,2.937,0.827), (2.872,0.762,2.937,0.827), (2.872,0.762,3.075,0.827), (3.01,0.762,3.075,0.827), (3.01,0.762,3.212,0.827), (3.147,0.762,3.212,0.827), (3.147,0.762,3.212,0.827), (3.147,0.762,3.212,0.827), (3.147,0.762,3.35,0.827), (3.285,0.762,3.35,0.827), (3.285,0.762,3.412,0.827), (3.347,0.762,3.482,0.827), (3.977,0.762,4.082,0.827), (4.017,0.762,4.082,0.827), (4.017,0.762,4.187,0.827), (4.122,0.762,4.187,0.827), (4.122,0.762,4.325,0.827), (4.26,0.762,4.325,0.827), (4.26,0.762,4.325,0.827), (4.26,0.762,4.325,0.827), (4.26,0.762,4.497,0.827), (4.432,0.762,4.497,0.827), (4.432,0.762,4.55,0.827), (4.485,0.762,4.62,0.827), (5.03,0.762,5.095,0.827), (5.03,0.762,5.095,0.827), (5.03,0.762,5.165,0.827), (5.1,0.762,5.232,0.827), (5.167,0.762,5.232,0.827), (5.167,0.762,5.322,0.827), (5.257,0.762,5.322,0.827), (5.257,0.762,5.46,0.827), (5.395,0.762,5.46,0.827), (5.395,0.762,5.46,0.827), (5.395,0.762,5.46,0.827), (5.395,0.762,5.632,0.827), (5.567,0.762,5.632,0.827), (5.567,0.762,5.672,0.827), (0.507,0.767,0.572,0.832), (2.047,0.767,2.112,0.832), (3.697,0.767,3.762,0.832), (5.887,0.777,5.952,0.842), (6.93,0.777,6.995,0.842), (6.93,0.777,6.995,0.842), (6.93,0.777,6.995,0.842), (6.93,0.777,6.995,0.842), (6.93,0.777,7.065,0.842), (7,0.777,7.132,0.842), (7.067,0.777,7.132,0.842), (7.067,0.777,7.27,0.842), (7.205,0.777,7.27,0.842), (7.205,0.777,7.27,0.842), (7.205,0.777,7.27,0.842), (7.205,0.777,7.43,0.842), (7.365,0.777,7.43,0.842), (7.365,0.777,7.567,0.842), (7.502,0.777,7.567,0.842), (7.502,0.777,7.567,0.842), (7.502,0.777,7.637,0.842), (7.537,0.777,7.602,0.842), (0.045,0.92,0.112,1.195), (0.23,0.92,0.295,1.195), (0.047,0.957,0.112,1.022), (0.96,1.057,1.095,1.262), (0.61,1.06,0.675,1.195), (0.23,1.13,0.295,1.35), (0.61,1.13,0.675,1.35), (1.03,1.197,1.095,1.35), (0,1.285,7.75,1.4)])
R(complex109, boundary, [(0,0,7.75,1.4)])
complex109.add(gdstk.Label('A', (0.54,0.8), layer=11, texttype=0))
complex109.add(gdstk.Label('B', (4.01,0.79), layer=11, texttype=0))
complex109.add(gdstk.Label('C', (5.64,0.79), layer=11, texttype=0))
complex109.add(gdstk.Label('D', (7.57,0.81), layer=11, texttype=0))
complex109.add(gdstk.Label('E', (5.92,0.81), layer=11, texttype=0))
complex109.add(gdstk.Label('F', (3.73,0.8), layer=11, texttype=0))
complex109.add(gdstk.Label('G', (2.08,0.8), layer=11, texttype=0))
complex109.add(gdstk.Label('H', (1.86,0.79), layer=11, texttype=0))
complex109.add(gdstk.Label('Y', (0.08,0.99), layer=11, texttype=0))
complex109.add(gdstk.Label('VCC', (0,1.4), layer=11, texttype=0))
complex109.add(gdstk.Label('GND', (0,0), layer=11, texttype=0))

lib.write_gds('COMPLEX109.gds')
